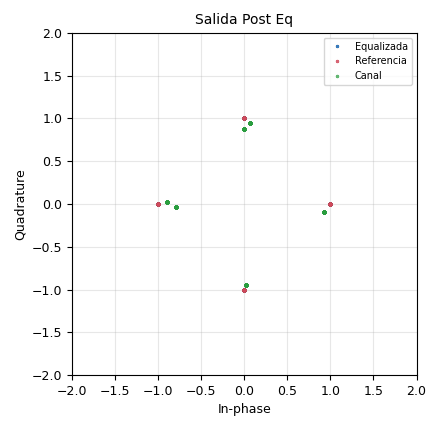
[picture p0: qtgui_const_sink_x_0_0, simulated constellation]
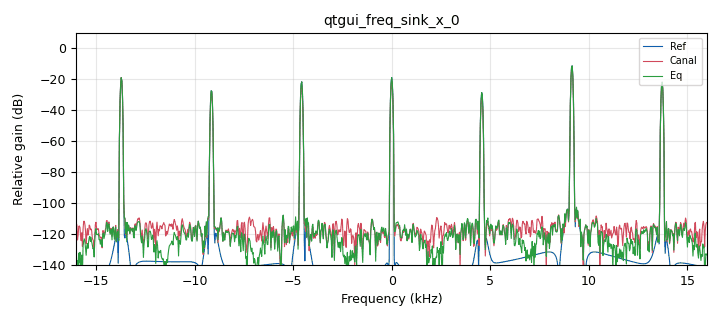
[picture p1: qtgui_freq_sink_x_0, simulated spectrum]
<?xml version='1.0' encoding='utf-8'?>
<?grc format='1' created='3.7.9'?>
<flow_graph>
<block>
<key>options</key>
<param><key>id</key><value>top_block</value></param>
<param><key>category</key><value>Custom</value></param>
<param><key>generate_options</key><value>qt_gui</value></param>
</block>
<block>
<key>variable</key>
<param><key>id</key><value>Ch_taps</value></param>
<param><key>value</key><value>fftpack.ifftshift(fftpack.ifft([0.8, 0.8, 1.0, 1, 0.8]))</value></param>
</block>
<block>
<key>variable_constellation</key>
<param><key>id</key><value>MiconstellationObject</value></param>
<param><key>const_points</key><value>[1.+0.j,   0.+1.j,   -1.+0.j,  0.-1.j ]</value></param>
<param><key>dims</key><value>1</value></param>
<param><key>rot_sym</key><value>4</value></param>
<param><key>precision</key><value>8</value></param>
<param><key>sym_map</key><value></value></param>
</block>
<block>
<key>variable</key>
<param><key>id</key><value>samp_rate</value></param>
<param><key>value</key><value>32000</value></param>
</block>
<block>
<key>analog_random_source_x</key>
<param><key>id</key><value>analog_random_source_x_0_0</value></param>
<param><key>_enabled</key><value>0</value></param>
<param><key>max</key><value>4</value></param>
<param><key>min</key><value>0</value></param>
<param><key>num_samps</key><value>1000</value></param>
<param><key>type</key><value>byte</value></param>
<param><key>repeat</key><value>True</value></param>
</block>
<block>
<key>blks2_error_rate</key>
<param><key>id</key><value>blks2_error_rate_0</value></param>
<param><key>bits_per_symbol</key><value>2</value></param>
<param><key>_enabled</key><value>0</value></param>
<param><key>type</key><value>'SER'</value></param>
<param><key>win_size</key><value>1000</value></param>
</block>
<block>
<key>blocks_vector_source_x</key>
<param><key>id</key><value>blocks_vector_source_x_0</value></param>
<param><key>type</key><value>byte</value></param>
<param><key>repeat</key><value>True</value></param>
<param><key>vector</key><value>(0,1,2,3,1,2,2)</value></param>
</block>
<block>
<key>channels_channel_model</key>
<param><key>id</key><value>channels_channel_model_0</value></param>
<param><key>epsilon</key><value>1</value></param>
<param><key>freq_offset</key><value>0</value></param>
<param><key>noise_voltage</key><value>100e-6</value></param>
<param><key>seed</key><value>13</value></param>
<param><key>taps</key><value>Ch_taps</value></param>
</block>
<block>
<key>digital_chunks_to_symbols_xx</key>
<param><key>id</key><value>digital_chunks_to_symbols_xx_0</value></param>
<param><key>dimension</key><value>1</value></param>
<param><key>in_type</key><value>byte</value></param>
<param><key>out_type</key><value>complex</value></param>
<param><key>symbol_table</key><value>[1.+0.j,   0.+1.j,   -1.+0.j,  0.-1.j ]</value></param>
</block>
<block>
<key>digital_constellation_decoder_cb</key>
<param><key>id</key><value>digital_constellation_decoder_cb_0</value></param>
<param><key>constellation</key><value>MiconstellationObject</value></param>
<param><key>_enabled</key><value>0</value></param>
</block>
<block>
<key>epy_block</key>
<param><key>id</key><value>epy_block_0</value></param>
<param><key>_source_code</key><value>"""
Embedded Python Blocks:

Each this file is saved, GRC will instantiate the first class it finds to get
ports and parameters of your block. The arguments to __init__  will be the
parameters. All of them are required to have default values!
"""
import numpy as np
from gnuradio import gr
class blk(gr.sync_block):

    def __init__(self,taps=5,gain=0.5,train=20):  # only default arguments here
        gr.sync_block.__init__(
            self,
            name='Ecualizador LMS Final',
            in_sig=[np.complex64,np.complex64],
            out_sig=[np.complex64]
        )
        #self.w=np.full((taps,1),0,dtype=np.complex64)
	self.w=np.zeros((taps,1),dtype=np.complex64)
	self.alpha=gain
	self.N=taps
	self.train=train
	self.count=0 

    def work(self, input_items, output_items,):
	
	x=input_items[0]
	d=input_items[1]
	if(self.count&lt;=self.train):
		print 'Entrada entrenamiento'
		for i in range(self.N,len(x)):
			xt=x[(i-self.N):i]
			y=self.w.T.dot(xt)
			e=d[i-1]-self.w.T.dot(xt)
			e2=abs(e)
			print e2
			w1 = self.w.T + self.alpha*(e*(xt.conjugate()))
			self.w=w1.T
			#output_items[0][i]=y[0]	
	else:	
		for i in range(self.N,len(x)):
			print 'Entrada convolucion'
			xt=x[(i-self.N):i]
			y=self.w.T.dot(xt)
			#e=d[i-1]-y
			#self.w = self.w + self.alpha*(e*(xt.conjugate()))
			output_items[0][i]=y[0]
	print self.count
	self.count=self.count+1
        return len(output_items[0])
</value></param>
<param><key>gain</key><value>0.01</value></param>
<param><key>taps</key><value>10</value></param>
<param><key>train</key><value>15</value></param>
</block>
<block>
<key>import</key>
<param><key>id</key><value>import_0_1</value></param>
<param><key>import</key><value>import cmath</value></param>
</block>
<block>
<key>import</key>
<param><key>id</key><value>import_0_1_0</value></param>
<param><key>import</key><value>import numpy</value></param>
</block>
<block>
<key>import</key>
<param><key>id</key><value>import_0_1_0_0</value></param>
<param><key>import</key><value>import random</value></param>
</block>
<block>
<key>import</key>
<param><key>id</key><value>import_0_1_1</value></param>
<param><key>import</key><value>import math</value></param>
</block>
<block>
<key>import</key>
<param><key>id</key><value>import_scipy</value></param>
<param><key>import</key><value>from scipy import fftpack</value></param>
</block>
<block>
<key>qtgui_const_sink_x</key>
<param><key>id</key><value>qtgui_const_sink_x_0_0</value></param>
<param><key>label1</key><value>Equalizada</value></param>
<param><key>label2</key><value>Referencia</value></param>
<param><key>label3</key><value>Canal</value></param>
<param><key>name</key><value>"Salida Post Eq"</value></param>
<param><key>nconnections</key><value>3</value></param>
<param><key>size</key><value>1024</value></param>
<param><key>type</key><value>complex</value></param>
</block>
<block>
<key>qtgui_freq_sink_x</key>
<param><key>id</key><value>qtgui_freq_sink_x_0</value></param>
<param><key>bw</key><value>samp_rate</value></param>
<param><key>fc</key><value>0</value></param>
<param><key>fftsize</key><value>1024</value></param>
<param><key>label1</key><value>Ref</value></param>
<param><key>label2</key><value>Canal</value></param>
<param><key>label3</key><value>Eq</value></param>
<param><key>nconnections</key><value>3</value></param>
<param><key>showports</key><value>True</value></param>
<param><key>type</key><value>complex</value></param>
<param><key>wintype</key><value>firdes.WIN_BLACKMAN_hARRIS</value></param>
</block>
<block>
<key>qtgui_time_sink_x</key>
<param><key>id</key><value>qtgui_time_sink_x_0</value></param>
<param><key>_enabled</key><value>0</value></param>
<param><key>color1</key><value>"blue"</value></param>
<param><key>label1</key><value></value></param>
<param><key>size</key><value>1024</value></param>
<param><key>srate</key><value>samp_rate</value></param>
<param><key>type</key><value>float</value></param>
</block>
<connection><source_block_id>analog_random_source_x_0_0</source_block_id><sink_block_id>digital_chunks_to_symbols_xx_0</sink_block_id><source_key>0</source_key><sink_key>0</sink_key></connection>
<connection><source_block_id>blks2_error_rate_0</source_block_id><sink_block_id>qtgui_time_sink_x_0</sink_block_id><source_key>0</source_key><sink_key>0</sink_key></connection>
<connection><source_block_id>blocks_vector_source_x_0</source_block_id><sink_block_id>blks2_error_rate_0</sink_block_id><source_key>0</source_key><sink_key>0</sink_key></connection>
<connection><source_block_id>blocks_vector_source_x_0</source_block_id><sink_block_id>digital_chunks_to_symbols_xx_0</sink_block_id><source_key>0</source_key><sink_key>0</sink_key></connection>
<connection><source_block_id>channels_channel_model_0</source_block_id><sink_block_id>epy_block_0</sink_block_id><source_key>0</source_key><sink_key>0</sink_key></connection>
<connection><source_block_id>channels_channel_model_0</source_block_id><sink_block_id>qtgui_const_sink_x_0_0</sink_block_id><source_key>0</source_key><sink_key>2</sink_key></connection>
<connection><source_block_id>channels_channel_model_0</source_block_id><sink_block_id>qtgui_freq_sink_x_0</sink_block_id><source_key>0</source_key><sink_key>1</sink_key></connection>
<connection><source_block_id>digital_chunks_to_symbols_xx_0</source_block_id><sink_block_id>channels_channel_model_0</sink_block_id><source_key>0</source_key><sink_key>0</sink_key></connection>
<connection><source_block_id>digital_chunks_to_symbols_xx_0</source_block_id><sink_block_id>epy_block_0</sink_block_id><source_key>0</source_key><sink_key>1</sink_key></connection>
<connection><source_block_id>digital_chunks_to_symbols_xx_0</source_block_id><sink_block_id>qtgui_const_sink_x_0_0</sink_block_id><source_key>0</source_key><sink_key>1</sink_key></connection>
<connection><source_block_id>digital_chunks_to_symbols_xx_0</source_block_id><sink_block_id>qtgui_freq_sink_x_0</sink_block_id><source_key>0</source_key><sink_key>0</sink_key></connection>
<connection><source_block_id>digital_constellation_decoder_cb_0</source_block_id><sink_block_id>blks2_error_rate_0</sink_block_id><source_key>0</source_key><sink_key>1</sink_key></connection>
<connection><source_block_id>epy_block_0</source_block_id><sink_block_id>digital_constellation_decoder_cb_0</sink_block_id><source_key>0</source_key><sink_key>0</sink_key></connection>
<connection><source_block_id>epy_block_0</source_block_id><sink_block_id>qtgui_const_sink_x_0_0</sink_block_id><source_key>0</source_key><sink_key>0</sink_key></connection>
<connection><source_block_id>epy_block_0</source_block_id><sink_block_id>qtgui_freq_sink_x_0</sink_block_id><source_key>0</source_key><sink_key>2</sink_key></connection>
</flow_graph>
